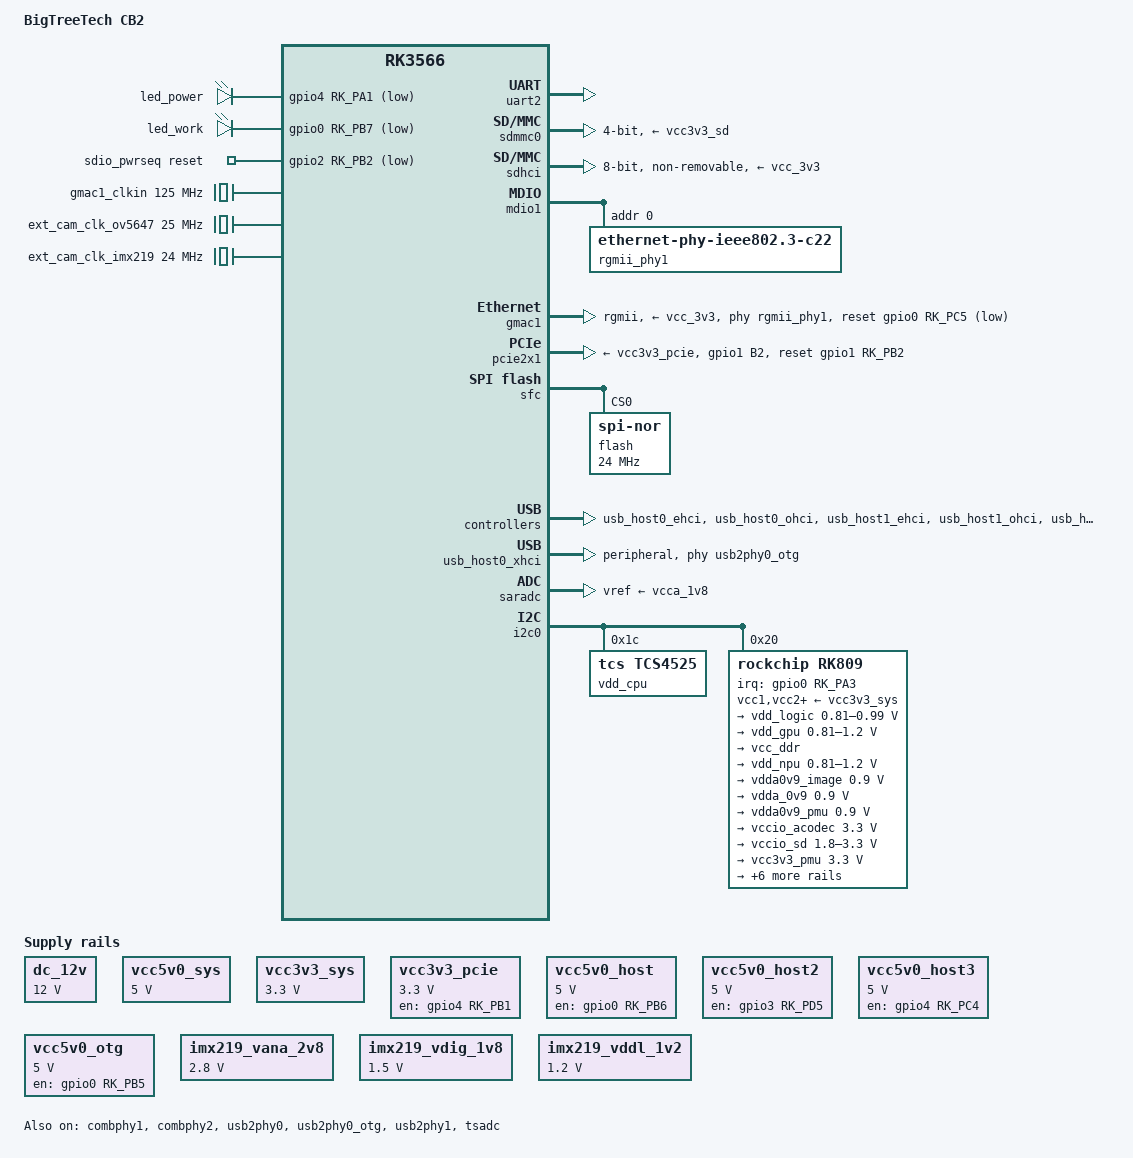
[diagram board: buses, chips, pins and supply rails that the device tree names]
// SPDX-License-Identifier: (GPL-2.0+ OR MIT)
/*
 * Copyright (c) 2025 BigTreeTech Co., Ltd.
 *
 */
/dts-v1/;

#include <dt-bindings/gpio/gpio.h>
#include <dt-bindings/pinctrl/rockchip.h>
#include <dt-bindings/soc/rockchip,vop2.h>
#include <dt-bindings/input/linux-event-codes.h>

#include "rk3566.dtsi"

/ {
	model = "BigTreeTech CB2";
	compatible = "bigtreetech,cb2", "rockchip,rk3566";

	aliases {
		/delete-property/ ethernet1;
		/delete-property/ mmc0;
		/delete-property/ mmc1;
		mmc0 = &sdmmc0;
		mmc1 = &sdhci;
		serial2 = &uart2;
	};

	chosen {
		stdout-path = "serial2:1500000n8";
	};

	dc_12v: dc-12v {
		compatible = "regulator-fixed";
		regulator-name = "dc_12v";
		regulator-always-on;
		regulator-boot-on;
		regulator-min-microvolt = <12000000>;
		regulator-max-microvolt = <12000000>;
	};

	vcc5v0_sys: vcc5v0-sys {
		compatible = "regulator-fixed";
		regulator-name = "vcc5v0_sys";
		regulator-always-on;
		regulator-boot-on;
		regulator-min-microvolt = <5000000>;
		regulator-max-microvolt = <5000000>;
		// vin-supply = <&dc_12v>;
	};

	vcc3v3_sys: vcc3v3-sys {
		compatible = "regulator-fixed";
		regulator-name = "vcc3v3_sys";
		regulator-always-on;
		regulator-boot-on;
		regulator-min-microvolt = <3300000>;
		regulator-max-microvolt = <3300000>;
		// vin-supply = <&vcc5v0_sys>;
	};

	vcc3v3_pcie: vcc3v3-pcie {
		compatible = "regulator-fixed";
		regulator-always-on;
		regulator-boot-on;
		enable-active-high;
		gpio = <&gpio4 RK_PB1 GPIO_ACTIVE_HIGH>;
		pinctrl-names = "default";
		pinctrl-0 = <&pcie_enable_h>;
		regulator-name = "vcc3v3_pcie";
		regulator-min-microvolt = <3300000>;
		regulator-max-microvolt = <3300000>;
		// vin-supply = <&vcc5v0_sys>;
	};

	vcc5v0_host: vcc5v0-host-regulator {
		compatible = "regulator-fixed";
		enable-active-high;
		gpio = <&gpio0 RK_PB6 GPIO_ACTIVE_HIGH>;
		pinctrl-names = "default";
		pinctrl-0 = <&vcc5v0_host_vbus_en>;
		regulator-name = "vcc5v0_host";
		regulator-min-microvolt = <5000000>;
		regulator-max-microvolt = <5000000>;
		regulator-boot-on;
		regulator-always-on;
	};

	vcc5v0_host2: vcc5v0-host2-regulator {
		compatible = "regulator-fixed";
		enable-active-high;
		gpio = <&gpio3 RK_PD5 GPIO_ACTIVE_HIGH>;
		pinctrl-names = "default";
		pinctrl-0 = <&vcc5v0_host2_vbus_en>;
		regulator-name = "vcc5v0_host2";
		regulator-min-microvolt = <5000000>;
		regulator-max-microvolt = <5000000>;
		regulator-boot-on;
		regulator-always-on;
	};

	vcc5v0_host3: vcc5v0-host3-regulator {
		compatible = "regulator-fixed";
		enable-active-high;
		gpio = <&gpio4 RK_PC4 GPIO_ACTIVE_HIGH>;
		pinctrl-names = "default";
		pinctrl-0 = <&vcc5v0_host3_vbus_en>;
		regulator-name = "vcc5v0_host3";
		regulator-min-microvolt = <5000000>;
		regulator-max-microvolt = <5000000>;
		regulator-boot-on;
		regulator-always-on;
	};

	vcc5v0_otg: vcc5v0-otg-regulator {
		compatible = "regulator-fixed";
		enable-active-high;
		gpio = <&gpio0 RK_PB5 GPIO_ACTIVE_HIGH>;
		pinctrl-names = "default";
		pinctrl-0 = <&vcc5v0_otg_en>;
		regulator-name = "vcc5v0_otg";
		regulator-min-microvolt = <5000000>;
		regulator-max-microvolt = <5000000>;
		regulator-always-on;
	};

	leds {
		compatible = "gpio-leds";

		led_power: led-power {
			gpios = <&gpio4 RK_PA1 GPIO_ACTIVE_LOW>;
			label = "led_power";
			linux,default-trigger = "default-on";
			pinctrl-names = "default";
			pinctrl-0 = <&led_power_en>;
		};

		led_work: led-work {
			gpios = <&gpio0 RK_PB7 GPIO_ACTIVE_LOW>;
			label = "led_work";
			linux,default-trigger = "heartbeat";
			pinctrl-names = "default";
			pinctrl-0 = <&led_work_en>;
		};
	};

	sdio_pwrseq: sdio-pwrseq {
		compatible = "mmc-pwrseq-simple";
		clocks = <&rk809 1>;
		clock-names = "ext_clock";
		pinctrl-names = "default";
		pinctrl-0 = <&wifi_enable_h &wifi_32k>;

		/*
		 * On the module itself this is one of these (depending
		 * on the actual card populated):
		 * - SDIO_RESET_L_WL_REG_ON
		 * - PDN (power down when low)
		 */
		post-power-on-delay-ms = <200>;
		reset-gpios = <&gpio2 RK_PB2 GPIO_ACTIVE_LOW>;
	};

	gmac1_clkin: external-gmac1-clock {
		compatible = "fixed-clock";
		clock-frequency = <125000000>;
		clock-output-names = "gmac1_clkin";
		#clock-cells = <0>;
	};

	ext_cam_clk_ov5647: external-camera-clock-ov5647 {
		compatible = "fixed-clock";
		clock-frequency = <25000000>;
		clock-output-names = "ext_cam_clk_ov5647";
		#clock-cells = <0>;
	};

	ext_cam_clk_imx219: ext-cam-clk-imx219 {
		compatible = "fixed-clock";
		clock-frequency = <24000000>;
		clock-output-names = "ext_cam_clk_imx219";
		#clock-cells = <0>;
	};

	imx219_vana_2v8: 2p8v {
		compatible = "regulator-fixed";
		regulator-name = "camera_vana";
		regulator-min-microvolt = <2800000>;
		regulator-max-microvolt = <2800000>;
		regulator-always-on;
	};

	imx219_vdig_1v8: 1p8v {
		compatible = "regulator-fixed";
		regulator-name = "camera_vdig";
		regulator-min-microvolt = <1500000>;
		regulator-max-microvolt = <1500000>;
		regulator-always-on;
	};

	imx219_vddl_1v2: 1p2v {
		compatible = "regulator-fixed";
		regulator-name = "camera_vddl";
		regulator-min-microvolt = <1200000>;
		regulator-max-microvolt = <1200000>;
		regulator-always-on;
	};

	mcp2515_clock: mcp2515_clock {
		compatible = "fixed-clock";
		#clock-cells = <0>;
		clock-frequency  = <12000000>;
	};
};

// Debug serial
&uart2 {
	status = "okay";
};

&pinctrl {
	leds {
		led_power_en: led-power-en {
			rockchip,pins = <4 RK_PA1 RK_FUNC_GPIO &pcfg_pull_none>;
		};

		led_work_en: led-work-en {
			rockchip,pins = <0 RK_PB7 RK_FUNC_GPIO &pcfg_pull_none>;
		};
	};

	headphone {
		hp_det: hp-det {
			rockchip,pins = <0 RK_PC6 RK_FUNC_GPIO &pcfg_pull_down>;
		};
	};

	bt {
		bt_enable_h: bt-enable-h {
			rockchip,pins = <2 RK_PB7 RK_FUNC_GPIO &pcfg_pull_none>;
		};

		bt_host_wake_l: bt-host-wake-l {
			rockchip,pins = <2 RK_PC0 RK_FUNC_GPIO &pcfg_pull_down>;
		};

		bt_wake_l: bt-wake-l {
			rockchip,pins = <2 RK_PC1 RK_FUNC_GPIO &pcfg_pull_none>;
		};
	};

	pcie {
		pcie_enable_h: pcie-enable-h {
			rockchip,pins = <4 RK_PB1  RK_FUNC_GPIO &pcfg_pull_none>;
		};

		pcie_reset_h: pcie-reset-h {
			rockchip,pins = <1 RK_PB2 RK_FUNC_GPIO &pcfg_pull_none>;
		};
	};

	pmic {
		pmic_int: pmic-int {
			rockchip,pins =
				<0 RK_PA3 RK_FUNC_GPIO &pcfg_pull_up>;
		};

		soc_slppin_gpio: soc_slppin_gpio {
			rockchip,pins =
				<0 RK_PA2 RK_FUNC_GPIO &pcfg_output_low>;
		};

		soc_slppin_slp: soc_slppin_slp {
			rockchip,pins =
				<0 RK_PA2 1 &pcfg_pull_none>;
		};

		soc_slppin_rst: soc_slppin_rst {
			rockchip,pins =
				<0 RK_PA2 2 &pcfg_pull_none>;
		};
	};

	sdio-pwrseq {
		wifi_enable_h: wifi-enable-h {
			rockchip,pins = <2 RK_PB2 RK_FUNC_GPIO &pcfg_pull_none>;
		};

		wifi_host_wake: wifi-host-wake {
			rockchip,pins = <2 RK_PB1 RK_FUNC_GPIO &pcfg_pull_down>;
		};

		wifi_32k: wifi-32k {
			rockchip,pins = <2 RK_PC6 1 &pcfg_pull_none>;
		};
	};

	usb {
		vcc5v0_otg_en: vcc5v0-otg-en {
			rockchip,pins = <0 RK_PB5 RK_FUNC_GPIO &pcfg_pull_none>;
		};

		vcc5v0_host_vbus_en: vcc5v0-host-en {
			rockchip,pins = <0 RK_PB6 RK_FUNC_GPIO &pcfg_pull_none>;
		};

		vcc5v0_host2_vbus_en: vcc5v0-host2-en {
			rockchip,pins = <3 RK_PD5 RK_FUNC_GPIO &pcfg_pull_none>;
		};

		vcc5v0_host3_vbus_en: vcc5v0-host3-en {
			rockchip,pins = <4 RK_PC4 RK_FUNC_GPIO &pcfg_pull_none>;
		};
	};

	can {
		can0_pin_irq: can0-pin-irq {
			rockchip,pins = <4 RK_PA3 RK_FUNC_GPIO &pcfg_pull_up>;
		};
	};
};

&power {
	// pipe-supply = <&vdd_gpu>;
	npu-supply = <&vdd_npu>;
	vpu-supply = <&vdd_logic>;
	rga-supply = <&vdd_logic>;
	rkvenc-supply = <&vdd_logic>;
	rkvdec-supply = <&vdd_logic>;
	vi-supply = <&vdd_logic>;
	gpu-supply = <&vdd_gpu>;
};

&pmu_io_domains {
	status = "okay";
	pmuio1-supply = <&vcc3v3_pmu>;
	pmuio2-supply = <&vcc3v3_pmu>;
	vccio1-supply = <&vccio_acodec>;
	vccio2-supply = <&vcc_1v8>;
	vccio3-supply = <&vccio_sd>;
	vccio4-supply = <&vcc_1v8>;
	vccio5-supply = <&vcc_3v3>;
	vccio6-supply = <&vcc_3v3>;
	vccio7-supply = <&vcc_3v3>;
};

// SD Card
&sdmmc0 {
	status = "okay";

	vmmc-supply = <&vcc3v3_sd>;
	vqmmc-supply = <&vccio_sd>;

	max-frequency = <150000000>;
	no-sdio;
	no-mmc;
	bus-width = <4>;
	cap-mmc-highspeed;
	cap-sd-highspeed;
	disable-wp;
	sd-uhs-sdr104;
	pinctrl-names = "default";
	pinctrl-0 = <&sdmmc0_bus4 &sdmmc0_clk &sdmmc0_cmd &sdmmc0_det>;
};

// eMMC
&sdhci {
	status = "okay";

	vmmc-supply = <&vcc_3v3>;
	vqmmc-supply = <&vcc_1v8>;

	bus-width = <8>;
	no-sdio;
	no-sd;
	non-removable;
	max-frequency = <200000000>;
	pinctrl-names = "default";
	pinctrl-0 = <&emmc_clk &emmc_cmd &emmc_bus8>;
};

// Ethernet
&mdio1 {
	rgmii_phy1: phy@0 {
		compatible = "ethernet-phy-ieee802.3-c22";
		reg = <0x0>;
	};
};

&gmac1 {
	assigned-clocks = <&cru SCLK_GMAC1_RX_TX>, <&cru SCLK_GMAC1_RGMII_SPEED>, <&cru SCLK_GMAC1>;
	assigned-clock-parents = <&cru SCLK_GMAC1_RGMII_SPEED>, <&cru SCLK_GMAC1>, <&gmac1_clkin>;
	clock_in_out = "input";
	phy-supply = <&vcc_3v3>;
	phy-mode = "rgmii";
	interrupts = <GIC_SPI 32 IRQ_TYPE_LEVEL_HIGH>,
				<GIC_SPI 29 IRQ_TYPE_LEVEL_HIGH>,
				<GIC_SPI 28 IRQ_TYPE_LEVEL_HIGH>;
	interrupt-names = "macirq", "eth_wake_irq", "eth_lpi";
	pinctrl-names = "default";
	pinctrl-0 = <&gmac1m0_miim
		     &gmac1m0_tx_bus2
		     &gmac1m0_rx_bus2
		     &gmac1m0_rgmii_clk
		     &gmac1m0_clkinout
		     &gmac1m0_rgmii_bus>;
	snps,reset-gpio = <&gpio0 RK_PC5 GPIO_ACTIVE_LOW>;
	snps,reset-active-low;
	snps,reset-delays-us = <0 20000 100000>;
	tx_delay = <0x19>;
	rx_delay = <0x05>;
	phy-handle = <&rgmii_phy1>;
	status = "okay";
};

&combphy1 {
	/* Used for USB3 */
	status = "okay";

	phy-supply = <&vcc3v3_sys>;
};

&combphy2 {
	/* used for SATA */
	status = "okay";

	phy-supply = <&vcc3v3_sys>;
};

&pcie2x1 {
	reset-gpios = <&gpio1 RK_PB2 GPIO_ACTIVE_HIGH>;
	pinctrl-names = "default";
	pinctrl-0 = <&pcie_reset_h>;
	vpcie3v3-supply = <&vcc3v3_pcie>;
	status = "okay";
};

&sfc {
	#address-cells = <1>;
	#size-cells = <0>;
	status = "okay";

	flash@0 {
		compatible = "jedec,spi-nor";
		reg = <0>;
		spi-max-frequency = <24000000>;
	};
};

&usb2phy0 {
	status = "okay";
};

&usb2phy0_otg {
	status = "okay";
};

&usb2phy1 {
	status = "okay";
};

&usb_host0_ehci {
	status = "okay";
};

&usb_host0_ohci {
	status = "okay";
};

&usb_host0_xhci {
	dr_mode = "peripheral";
	extcon = <&usb2phy0>;
	maximum-speed = "high-speed";
	phys = <&usb2phy0_otg>;
	phy-names = "usb2-phy";
	status = "okay";
};

&usb_host1_ehci {
	status = "okay";
};

&usb_host1_ohci {
	status = "okay";
};

&usb_host1_xhci {
	status = "okay";
};

&saradc {
	status = "okay";
	vref-supply = <&vcca_1v8>;
};

&tsadc {
	status = "okay";
};

&i2c0 {
	status = "okay";

	vdd_cpu: regulator@1c {
		compatible = "tcs,tcs4525";
		reg = <0x1c>;
		fcs,suspend-voltage-selector = <1>;
		regulator-name = "vdd_cpu";
		regulator-always-on;
		regulator-boot-on;
		regulator-min-microvolt = <810000>;
		regulator-max-microvolt = <1200000>;
		regulator-init-microvolt = <900000>;
		regulator-ramp-delay = <2300>;
		// vin-supply = <&vcc5v0_sys>;

		regulator-state-mem {
			regulator-off-in-suspend;
		};
	};

	rk809: pmic@20 {
		compatible = "rockchip,rk809";
		reg = <0x20>;
		interrupt-parent = <&gpio0>;
		interrupts = <RK_PA3 IRQ_TYPE_LEVEL_LOW>;

		pinctrl-names = "default", "pmic-sleep",
				"pmic-power-off", "pmic-reset";
		pinctrl-0 = <&pmic_int>;
		pinctrl-1 = <&soc_slppin_slp>, <&rk817_slppin_slp>;
		pinctrl-2 = <&soc_slppin_gpio>, <&rk817_slppin_pwrdn>;
		pinctrl-3 = <&soc_slppin_gpio>, <&rk817_slppin_rst>;

		rockchip,system-power-controller;
		wakeup-source;
		#clock-cells = <1>;
		clock-output-names = "rk808-clkout1", "rk808-clkout2";
		//fb-inner-reg-idxs = <2>;
		/* 1: rst regs (default in codes), 0: rst the pmic */
		pmic-reset-func = <0>;
		/* not save the PMIC_POWER_EN register in uboot */
		not-save-power-en = <1>;

		vcc1-supply = <&vcc3v3_sys>;
		vcc2-supply = <&vcc3v3_sys>;
		vcc3-supply = <&vcc3v3_sys>;
		vcc4-supply = <&vcc3v3_sys>;
		vcc5-supply = <&vcc3v3_sys>;
		vcc6-supply = <&vcc3v3_sys>;
		vcc7-supply = <&vcc3v3_sys>;
		vcc8-supply = <&vcc3v3_sys>;
		vcc9-supply = <&vcc3v3_sys>;

		pwrkey {
			status = "okay";
		};

		pinctrl_rk8xx: pinctrl_rk8xx {
			gpio-controller;
			#gpio-cells = <2>;

			rk817_slppin_null: rk817_slppin_null {
				pins = "gpio_slp";
				function = "pin_fun0";
			};

			rk817_slppin_slp: rk817_slppin_slp {
				pins = "gpio_slp";
				function = "pin_fun1";
			};

			rk817_slppin_pwrdn: rk817_slppin_pwrdn {
				pins = "gpio_slp";
				function = "pin_fun2";
			};

			rk817_slppin_rst: rk817_slppin_rst {
				pins = "gpio_slp";
				function = "pin_fun3";
			};
		};

		regulators {
			vdd_logic: DCDC_REG1 {
				regulator-always-on;
				regulator-boot-on;
				regulator-min-microvolt = <810000>;
				regulator-max-microvolt = <990000>;
				regulator-init-microvolt = <900000>;
				regulator-ramp-delay = <6001>;
				regulator-initial-mode = <0x2>;
				regulator-name = "vdd_logic";
				regulator-state-mem {
					regulator-off-in-suspend;
				};
			};

			vdd_gpu: DCDC_REG2 {
				regulator-always-on;
				regulator-boot-on;
				regulator-min-microvolt = <810000>;
				regulator-max-microvolt = <1200000>;
				regulator-init-microvolt = <900000>;
				regulator-ramp-delay = <6001>;
				regulator-initial-mode = <0x2>;
				regulator-name = "vdd_gpu";
				regulator-state-mem {
					regulator-off-in-suspend;
				};
			};

			vcc_ddr: DCDC_REG3 {
				regulator-always-on;
				regulator-boot-on;
				regulator-initial-mode = <0x2>;
				regulator-name = "vcc_ddr";
				regulator-state-mem {
					regulator-on-in-suspend;
				};
			};

			vdd_npu: DCDC_REG4 {
				regulator-always-on;
				regulator-boot-on;
				regulator-min-microvolt = <810000>;
				regulator-max-microvolt = <1200000>;
				regulator-init-microvolt = <900000>;
				regulator-ramp-delay = <6001>;
				regulator-initial-mode = <0x2>;
				regulator-name = "vdd_npu";
				regulator-state-mem {
					regulator-off-in-suspend;
				};
			};

			vdda0v9_image: LDO_REG1 {
				regulator-boot-on;
				regulator-always-on;
				regulator-min-microvolt = <900000>;
				regulator-max-microvolt = <900000>;
				regulator-name = "vdda0v9_image";
				regulator-state-mem {
					regulator-off-in-suspend;
				};
			};

			vdda_0v9: LDO_REG2 {
				regulator-always-on;
				regulator-boot-on;
				regulator-min-microvolt = <900000>;
				regulator-max-microvolt = <900000>;
				regulator-name = "vdda_0v9";
				regulator-state-mem {
					regulator-off-in-suspend;
				};
			};

			vdda0v9_pmu: LDO_REG3 {
				regulator-always-on;
				regulator-boot-on;
				regulator-min-microvolt = <900000>;
				regulator-max-microvolt = <900000>;
				regulator-name = "vdda0v9_pmu";
				regulator-state-mem {
					regulator-on-in-suspend;
					regulator-suspend-microvolt = <900000>;
				};
			};

			vccio_acodec: LDO_REG4 {
				regulator-always-on;
				regulator-boot-on;
				regulator-min-microvolt = <3300000>;
				regulator-max-microvolt = <3300000>;
				regulator-name = "vccio_acodec";
				regulator-state-mem {
					regulator-off-in-suspend;
				};
			};

			vccio_sd: LDO_REG5 {
				regulator-always-on;
				regulator-boot-on;
				regulator-min-microvolt = <1800000>;
				regulator-max-microvolt = <3300000>;
				regulator-name = "vccio_sd";
				regulator-state-mem {
					regulator-off-in-suspend;
				};
			};

			vcc3v3_pmu: LDO_REG6 {
				regulator-always-on;
				regulator-boot-on;
				regulator-min-microvolt = <3300000>;
				regulator-max-microvolt = <3300000>;
				regulator-name = "vcc3v3_pmu";
				regulator-state-mem {
					regulator-on-in-suspend;
					regulator-suspend-microvolt = <3300000>;
				};
			};

			vcca_1v8: LDO_REG7 {
				regulator-always-on;
				regulator-boot-on;
				regulator-min-microvolt = <1800000>;
				regulator-max-microvolt = <1800000>;
				regulator-name = "vcca_1v8";
				regulator-state-mem {
					regulator-off-in-suspend;
				};
			};

			vcca1v8_pmu: LDO_REG8 {
				regulator-always-on;
				regulator-boot-on;
				regulator-min-microvolt = <1800000>;
				regulator-max-microvolt = <1800000>;
				regulator-name = "vcca1v8_pmu";
				regulator-state-mem {
					regulator-on-in-suspend;
					regulator-suspend-microvolt = <1800000>;
				};
			};

			vcca1v8_image: LDO_REG9 {
				regulator-always-on;
				regulator-boot-on;
				regulator-min-microvolt = <1800000>;
				regulator-max-microvolt = <1800000>;
				regulator-name = "vcca1v8_image";
				regulator-state-mem {
					regulator-off-in-suspend;
				};
			};

			vcc_1v8: DCDC_REG5 {
				regulator-always-on;
				regulator-boot-on;
				regulator-min-microvolt = <1800000>;
				regulator-max-microvolt = <1800000>;
				regulator-name = "vcc_1v8";
				regulator-state-mem {
					regulator-off-in-suspend;
				};
			};

			vcc_3v3: SWITCH_REG1 {
				regulator-always-on;
				regulator-boot-on;
				regulator-name = "vcc_3v3";
				regulator-state-mem {
					regulator-off-in-suspend;
				};
			};

			vcc3v3_sd: SWITCH_REG2 {
				regulator-always-on;
				regulator-boot-on;
				regulator-name = "vcc3v3_sd";
				regulator-state-mem {
					regulator-off-in-suspend;
				};
			};
		};
	};
};
